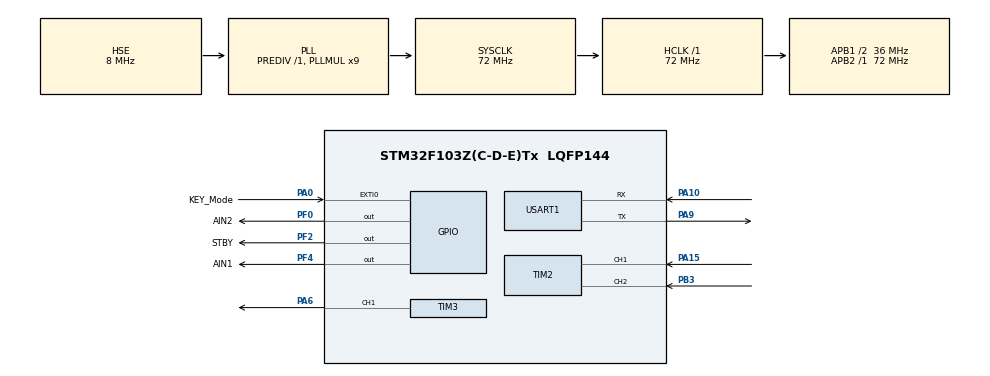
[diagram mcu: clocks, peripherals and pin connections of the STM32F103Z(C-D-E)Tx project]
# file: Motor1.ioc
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Mcu.Family=STM32F1
Mcu.Name=STM32F103Z(C-D-E)Tx
Mcu.Package=LQFP144
NVIC.EXTI0_IRQn=true\:3\:0\:true\:false\:true\:true\:true\:true
NVIC.PriorityGroup=NVIC_PRIORITYGROUP_4
NVIC.USART1_IRQn=true\:4\:0\:true\:false\:true\:true\:true\:true
OSC_IN.Mode=HSE-External-Oscillator
OSC_IN.Signal=RCC_OSC_IN
OSC_OUT.Mode=HSE-External-Oscillator
OSC_OUT.Signal=RCC_OSC_OUT
PA0-WKUP.GPIO_Label=KEY_Mode
PA0-WKUP.Signal=GPXTI0
PA10.Mode=Asynchronous
PA10.Signal=USART1_RX
PA13.Mode=Serial_Wire
PA13.Signal=SYS_JTMS-SWDIO
PA14.Mode=Serial_Wire
PA14.Signal=SYS_JTCK-SWCLK
PA15.Signal=S_TIM2_CH1_ETR
PA6.Signal=S_TIM3_CH1
PA9.Mode=Asynchronous
PA9.Signal=USART1_TX
PB3.Signal=S_TIM2_CH2
PF0.GPIO_Label=AIN2
PF0.Signal=GPIO_Output
PF2.GPIO_Label=STBY
PF2.Signal=GPIO_Output
PF4.GPIO_Label=AIN1
PF4.Signal=GPIO_Output
ProjectManager.HeapSize=0x200
ProjectManager.StackSize=0x400
ProjectManager.TargetToolchain=MDK-ARM V5.32
RCC.AHBFreq_Value=72000000
RCC.APB1CLKDivider=RCC_HCLK_DIV2
RCC.APB1Freq_Value=36000000
RCC.APB1TimFreq_Value=72000000
RCC.APB2Freq_Value=72000000
RCC.APB2TimFreq_Value=72000000
RCC.HCLKFreq_Value=72000000
RCC.PLLMUL=RCC_PLL_MUL9
RCC.PLLSourceVirtual=RCC_PLLSOURCE_HSE
RCC.SYSCLKFreq_VALUE=72000000
RCC.SYSCLKSource=RCC_SYSCLKSOURCE_PLLCLK
RCC.USBFreq_Value=72000000
SH.S_TIM2_CH1_ETR.0=TIM2_CH1,Encoder_Interface
SH.S_TIM2_CH2.0=TIM2_CH2,Encoder_Interface
SH.S_TIM3_CH1.0=TIM3_CH1,PWM Generation1 CH1
TIM2.EncoderMode=TIM_ENCODERMODE_TI12
TIM2.IC1Filter=5
TIM2.IC2Filter=5
TIM3.Channel-PWM\ Generation1\ CH1=TIM_CHANNEL_1
TIM3.Period=49
TIM3.Prescaler=71
TIM3.Pulse-PWM\ Generation1\ CH1=49
TIM3.TIM_MasterSlaveMode=TIM_MASTERSLAVEMODE_DISABLE
USART1.StopBits=STOPBITS_2
USART1.VirtualMode=VM_ASYNC
VP_TIM3_VS_ClockSourceINT.Mode=Internal
board=custom

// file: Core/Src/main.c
/* USER CODE BEGIN Header */
/**
 ******************************************************************************
 * @file           : main.c
 * @brief          : Main program body
 ******************************************************************************
 * @attention
 *
 * Copyright (c) 2026 STMicroelectronics.
 * All rights reserved.
 *
 * This software is licensed under terms that can be found in the LICENSE file
 * in the root directory of this software component.
 * If no LICENSE file comes with this software, it is provided AS-IS.
 *
 ******************************************************************************
 */
/* USER CODE END Header */
#include "main.h"
#include "tim.h"
#include "usart.h"
#include "gpio.h"

/* USER CODE BEGIN Includes */
#include "Motor.h"
#include "Encoder.h"
#include "Speed_loop.h"
#include "PID.h"
#include <stdio.h>
/* USER CODE END Includes */

/* USER CODE BEGIN PV */
volatile uint8_t Key_pressed = 0;
uint8_t rx_buffer[1];
extern volatile uint8_t speed_loop_flag;
/* USER CODE END PV */

void SystemClock_Config(void);

int main(void)
{

  /* MCU Configuration--------------------------------------------------------*/

  /* Reset of all peripherals, Initializes the Flash interface and the Systick. */
  HAL_Init();

  /* Configure the system clock */
  SystemClock_Config();

  /* Initialize all configured peripherals */
  MX_GPIO_Init();
  MX_TIM3_Init();
  MX_USART1_UART_Init();
  MX_TIM2_Init();
  /* USER CODE BEGIN 2 */
  Motor_Init();
  Speed_loop_Init();
  HAL_TIM_PWM_Start(&htim3, TIM_CHANNEL_1);       // 启动PWM输出，默认CCR寄存器值为50（电�?V�?
  HAL_TIM_Encoder_Start(&htim2, TIM_CHANNEL_ALL); // 测速定时器
  HAL_UART_Receive_IT(&huart1, rx_buffer, 1);     // 串口调参
  uint32_t i=0;
  /* USER CODE END 2 */

  /* Infinite loop */
  while (1)
  {

    /* USER CODE BEGIN 3 */
    if (speed_loop_flag)
    {
     speed_loop_flag = 0;                  // 清除标志位，避免重复进入
     Speed_loop_PID_Position(500.0f); // 调用速度环PID函数
    }

    i++;
    while(i>500000)
    {
        i=0;
        float speed = PID[0].feedback;
        float pwm = __HAL_TIM_GET_COMPARE(&htim3, TIM_CHANNEL_1);
        printf("speed=%.1f err=%.1f pwm=%.1f\r\n", speed, PID[0].err, pwm);
    }
  }
  /* USER CODE END 3 */
}

void SystemClock_Config(void)
{
  RCC_OscInitTypeDef RCC_OscInitStruct = {0};
  RCC_ClkInitTypeDef RCC_ClkInitStruct = {0};

  /** Initializes the RCC Oscillators according to the specified parameters
  * in the RCC_OscInitTypeDef structure.
  */
  RCC_OscInitStruct.OscillatorType = RCC_OSCILLATORTYPE_HSE;
  RCC_OscInitStruct.HSEState = RCC_HSE_ON;
  RCC_OscInitStruct.HSEPredivValue = RCC_HSE_PREDIV_DIV1;
  RCC_OscInitStruct.HSIState = RCC_HSI_ON;
  RCC_OscInitStruct.PLL.PLLState = RCC_PLL_ON;
  RCC_OscInitStruct.PLL.PLLSource = RCC_PLLSOURCE_HSE;
  RCC_OscInitStruct.PLL.PLLMUL = RCC_PLL_MUL9;
  if (HAL_RCC_OscConfig(&RCC_OscInitStruct) != HAL_OK)
  {
    Error_Handler();
  }

  /** Initializes the CPU, AHB and APB buses clocks
  */
  RCC_ClkInitStruct.ClockType = RCC_CLOCKTYPE_HCLK|RCC_CLOCKTYPE_SYSCLK
                              |RCC_CLOCKTYPE_PCLK1|RCC_CLOCKTYPE_PCLK2;
  RCC_ClkInitStruct.SYSCLKSource = RCC_SYSCLKSOURCE_PLLCLK;
  RCC_ClkInitStruct.AHBCLKDivider = RCC_SYSCLK_DIV1;
  RCC_ClkInitStruct.APB1CLKDivider = RCC_HCLK_DIV2;
  RCC_ClkInitStruct.APB2CLKDivider = RCC_HCLK_DIV1;

  if (HAL_RCC_ClockConfig(&RCC_ClkInitStruct, FLASH_LATENCY_2) != HAL_OK)
  {
    Error_Handler();
  }
}

/* USER CODE BEGIN 4 */
/**
 * @brief  外部中断回调函数	快进快出，短小精悍�?
 * @param  GPIO_Pin_0
 */
void HAL_GPIO_EXTI_Callback(uint16_t GPIO_Pin)
{
  if (GPIO_Pin == KEY_Mode_Pin)
  {
    Key_pressed = 1; // 标志位置一，防止竞态时序问�?
  }
}
/**
 * @brief  串口调速中断函�?快进快出，短小精悍�?
 * @param  GPIO_Pin_0
 */
void HAL_UART_RxCpltCallback(UART_HandleTypeDef *huart)
{
  if (huart->Instance == USART1)
  {
    uint8_t recv_val = rx_buffer[0];

    // 安全校验，防止发错数据导�?PWM 越界 (限制�?0-49 之间)
    if (recv_val <= 49)
    {
      count = recv_val;                                    // 保存当前速度
      __HAL_TIM_SET_COMPARE(&htim3, TIM_CHANNEL_1, count); // 直接修改 PWM
    }

    HAL_UART_Receive_IT(&huart1, rx_buffer, 1);
  }
}

/* USER CODE END 4 */

void Error_Handler(void)
{
  __disable_irq();
  while (1)
  {
  }
}
